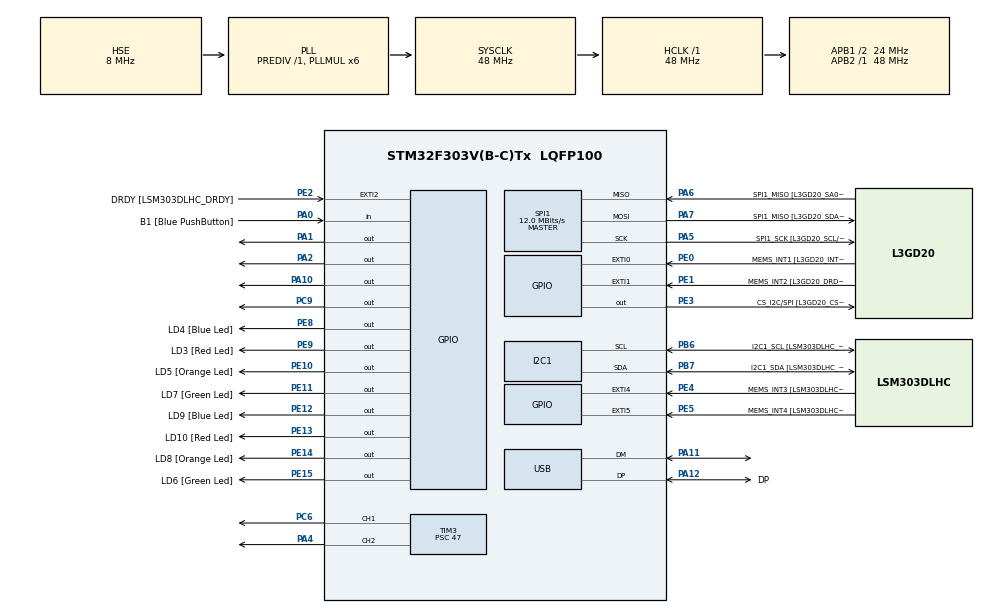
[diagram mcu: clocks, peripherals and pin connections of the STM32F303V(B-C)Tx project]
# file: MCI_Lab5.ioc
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I2C1.Timing=0x00201D2B
I2C1.Timing-I2C=0x2000090E
Mcu.Family=STM32F3
Mcu.Name=STM32F303V(B-C)Tx
Mcu.Package=LQFP100
NVIC.PriorityGroup=NVIC_PRIORITYGROUP_0
PA0.GPIO_Label=B1 [Blue PushButton]
PA0.Signal=GPIO_Input
PA1.Signal=GPIO_Output
PA10.Signal=GPIO_Output
PA11.Mode=Device
PA11.Signal=USB_DM
PA12.GPIO_Label=DP
PA12.Mode=Device
PA12.Signal=USB_DP
PA13.GPIO_Label=SWDIO
PA13.Mode=Serial_Wire
PA13.Signal=SYS_JTMS-SWDIO
PA14.GPIO_Label=SWCLK
PA14.Mode=Serial_Wire
PA14.Signal=SYS_JTCK-SWCLK
PA2.Signal=GPIO_Output
PA4.Signal=S_TIM3_CH2
PA5.GPIO_Label=SPI1_SCK [L3GD20_SCL/SPC]
PA5.Mode=Full_Duplex_Master
PA5.Signal=SPI1_SCK
PA6.GPIO_Label=SPI1_MISO [L3GD20_SA0/SDO]
PA6.Mode=Full_Duplex_Master
PA6.Signal=SPI1_MISO
PA7.GPIO_Label=SPI1_MISO [L3GD20_SDA/SDI/SDO]
PA7.Mode=Full_Duplex_Master
PA7.Signal=SPI1_MOSI
PB3.GPIO_Label=SWO
PB3.Signal=SYS_JTDO-TRACESWO
PB6.GPIO_Label=I2C1_SCL [LSM303DLHC_SCL]
PB6.GPIO_Pu=GPIO_PULLUP
PB6.Mode=I2C
PB6.Signal=I2C1_SCL
PB7.GPIO_Label=I2C1_SDA [LSM303DLHC_SDA]
PB7.GPIO_Pu=GPIO_PULLUP
PB7.Mode=I2C
PB7.Signal=I2C1_SDA
PC14-OSC32_IN.GPIO_Label=OSC32_IN
PC14-OSC32_IN.Signal=RCC_OSC32_IN
PC15-OSC32_OUT.GPIO_Label=OSC32_OUT
PC15-OSC32_OUT.Signal=RCC_OSC32_OUT
PC6.Signal=S_TIM3_CH1
PC9.Signal=GPIO_Output
PE0.GPIO_Label=MEMS_INT1 [L3GD20_INT1]
PE0.GPIO_ModeDefaultEXTI=GPIO_MODE_EVT_RISING
PE0.Signal=GPXTI0
PE1.GPIO_Label=MEMS_INT2 [L3GD20_DRDY/INT2]
PE1.GPIO_ModeDefaultEXTI=GPIO_MODE_EVT_RISING
PE1.Signal=GPXTI1
PE10.GPIO_Label=LD5 [Orange Led]
PE10.Signal=GPIO_Output
PE11.GPIO_Label=LD7 [Green Led]
PE11.Signal=GPIO_Output
PE12.GPIO_Label=LD9 [Blue Led]
PE12.Signal=GPIO_Output
PE13.GPIO_Label=LD10 [Red Led]
PE13.Signal=GPIO_Output
PE14.GPIO_Label=LD8 [Orange Led]
PE14.Signal=GPIO_Output
PE15.GPIO_Label=LD6 [Green Led]
PE15.Signal=GPIO_Output
PE2.GPIO_Label=DRDY [LSM303DLHC_DRDY]
PE2.GPIO_ModeDefaultEXTI=GPIO_MODE_EVT_RISING
PE2.Signal=GPXTI2
PE3.GPIO_Label=CS_I2C/SPI [L3GD20_CS_I2C/SPI]
PE3.Signal=GPIO_Output
PE4.GPIO_Label=MEMS_INT3 [LSM303DLHC_INT1]
PE4.GPIO_ModeDefaultEXTI=GPIO_MODE_EVT_RISING
PE4.Signal=GPXTI4
PE5.GPIO_Label=MEMS_INT4 [LSM303DLHC_INT2]
PE5.GPIO_ModeDefaultEXTI=GPIO_MODE_EVT_RISING
PE5.Signal=GPXTI5
PE8.GPIO_Label=LD4 [Blue Led]
PE8.Signal=GPIO_Output
PE9.GPIO_Label=LD3 [Red Led]
PE9.Signal=GPIO_Output
PF0-OSC_IN.GPIO_Label=OSC_IN
PF0-OSC_IN.Mode=HSE-External-Clock-Source
PF0-OSC_IN.Signal=RCC_OSC_IN
PF1-OSC_OUT.GPIO_Label=OSC_OUT
PF1-OSC_OUT.Signal=RCC_OSC_OUT
ProjectManager.HeapSize=0x200
ProjectManager.StackSize=0x400
ProjectManager.TargetToolchain=CMake
RCC.AHBFreq_Value=48000000
RCC.APB1CLKDivider=RCC_HCLK_DIV2
RCC.APB1Freq_Value=24000000
RCC.APB1TimFreq_Value=48000000
RCC.APB2Freq_Value=48000000
RCC.APB2TimFreq_Value=48000000
RCC.CortexFreq_Value=48000000
RCC.HCLKFreq_Value=48000000
RCC.HSE_VALUE=8000000
RCC.HSI_VALUE=8000000
RCC.LSE_VALUE=32768
RCC.PLLMUL=RCC_PLL_MUL6
RCC.SYSCLKFreq_VALUE=48000000
RCC.SYSCLKSourceVirtual=RCC_SYSCLKSOURCE_PLLCLK
RCC.USBFreq_Value=48000000
SH.S_TIM3_CH1.0=TIM3_CH1,PWM Generation1 CH1
SH.S_TIM3_CH2.0=TIM3_CH2,PWM Generation2 CH2
SPI1.BaudRatePrescaler=SPI_BAUDRATEPRESCALER_4
SPI1.BaudRatePrescaler-Full_Duplex_Master=SPI_BAUDRATEPRESCALER_2
SPI1.CalculateBaudRate=12.0 MBits/s
SPI1.CalculateBaudRate-Full_Duplex_Master=24.0 MBits/s
SPI1.Direction=SPI_DIRECTION_2LINES
SPI1.Mode=SPI_MODE_MASTER
SPI1.Mode-Full_Duplex_Master=SPI_MODE_MASTER
SPI1.VirtualType=VM_MASTER
TIM3.Channel-PWM\ Generation1\ CH1=TIM_CHANNEL_1
TIM3.Channel-PWM\ Generation2\ CH2=TIM_CHANNEL_2
TIM3.Period=999
TIM3.Prescaler=47
board=STM32F3DISCOVERY

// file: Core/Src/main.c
/* USER CODE BEGIN Header */
/**
  ******************************************************************************
  * @file           : main.c
  * @brief          : Main program body
  ******************************************************************************
  * @attention
  *
  * Copyright (c) 2026 STMicroelectronics.
  * All rights reserved.
  *
  * This software is licensed under terms that can be found in the LICENSE file
  * in the root directory of this software component.
  * If no LICENSE file comes with this software, it is provided AS-IS.
  *
  ******************************************************************************
  */
/* USER CODE END Header */
#include "main.h"

I2C_HandleTypeDef hi2c1;

SPI_HandleTypeDef hspi1;

TIM_HandleTypeDef htim3;

PCD_HandleTypeDef hpcd_USB_FS;

void SystemClock_Config(void);
static void MX_GPIO_Init(void);
static void MX_I2C1_Init(void);
static void MX_SPI1_Init(void);
static void MX_TIM3_Init(void);
static void MX_USB_PCD_Init(void);

/* USER CODE BEGIN 0 */
void rightMotorForward(int speed) {
  HAL_GPIO_WritePin(GPIOA, GPIO_PIN_1, GPIO_PIN_SET); // IN1
  HAL_GPIO_WritePin(GPIOA, GPIO_PIN_2, GPIO_PIN_RESET); // IN2

  __HAL_TIM_SET_COMPARE(&htim3, TIM_CHANNEL_1, speed);
}

void rightMotorBackward(int speed) {
  HAL_GPIO_WritePin(GPIOA, GPIO_PIN_1, GPIO_PIN_RESET); // IN1
  HAL_GPIO_WritePin(GPIOA, GPIO_PIN_2, GPIO_PIN_SET); // IN2

  __HAL_TIM_SET_COMPARE(&htim3, TIM_CHANNEL_1, speed);
}

void leftMotorForward(int speed) {
  HAL_GPIO_WritePin(GPIOA, GPIO_PIN_10, GPIO_PIN_SET); // IN3
  HAL_GPIO_WritePin(GPIOC, GPIO_PIN_9, GPIO_PIN_RESET); // IN4

  __HAL_TIM_SET_COMPARE(&htim3, TIM_CHANNEL_2, speed);
}

void leftMotorBackward(int speed) {
  HAL_GPIO_WritePin(GPIOA, GPIO_PIN_10, GPIO_PIN_RESET); // IN3
  HAL_GPIO_WritePin(GPIOC, GPIO_PIN_9, GPIO_PIN_SET); // IN4

  __HAL_TIM_SET_COMPARE(&htim3, TIM_CHANNEL_2, speed);
}

void leftMotorStop() {
  HAL_GPIO_WritePin(GPIOA, GPIO_PIN_10, GPIO_PIN_RESET); // IN3
  HAL_GPIO_WritePin(GPIOC, GPIO_PIN_9, GPIO_PIN_RESET); // IN4

  __HAL_TIM_SET_COMPARE(&htim3, TIM_CHANNEL_2, 0);
}

void rightMotorStop() {
  HAL_GPIO_WritePin(GPIOA, GPIO_PIN_1, GPIO_PIN_RESET); // IN1
  HAL_GPIO_WritePin(GPIOA, GPIO_PIN_2, GPIO_PIN_RESET); // IN2

  __HAL_TIM_SET_COMPARE(&htim3, TIM_CHANNEL_1, 0);
}

void bothMotorsStop() {
  leftMotorStop();
  rightMotorStop();
}

void bothMotorsForward(int speed) {
  leftMotorForward(speed);
  rightMotorForward(speed);
}

void bothMotorsBackward(int speed) {
  leftMotorBackward(speed);
  rightMotorBackward(speed);
}

/* USER CODE END 0 */

int main(void)
{

  /* MCU Configuration--------------------------------------------------------*/

  /* Reset of all peripherals, Initializes the Flash interface and the Systick. */
  HAL_Init();

  /* Configure the system clock */
  SystemClock_Config();

  /* Initialize all configured peripherals */
  MX_GPIO_Init();
  MX_I2C1_Init();
  MX_SPI1_Init();
  MX_TIM3_Init();
  MX_USB_PCD_Init();
  /* USER CODE BEGIN 2 */
  HAL_TIM_PWM_Start(&htim3, TIM_CHANNEL_1);
  HAL_TIM_PWM_Start(&htim3, TIM_CHANNEL_2);
  /* USER CODE END 2 */

  /* Infinite loop */
  while (1)
  {

    /* USER CODE BEGIN 3 */
  // for (int dutyCycle = 0; dutyCycle <= 1000; dutyCycle += 10) {
  //   __HAL_TIM_SET_COMPARE(&htim3, TIM_CHANNEL_1, dutyCycle);
  //   HAL_Delay(10); // Delay for 10 ms
  // }

  // for (int dutyCycle = 1000; dutyCycle >= 0; dutyCycle -= 10) {
  //   __HAL_TIM_SET_COMPARE(&htim3, TIM_CHANNEL_1, dutyCycle);
  //   HAL_Delay(10); // Delay for 10 ms
  // }

  // HAL_TIM_PWM_Stop(&htim3, TIM_CHANNEL_1); // Stop PWM signal generation
  // Test 1 (Both motors forward at half speed)
  bothMotorsForward(500);
  HAL_Delay(1000);
  bothMotorsBackward(500);
  HAL_Delay(1000);

   }
  /* USER CODE END 3 */
}

void SystemClock_Config(void)
{
  RCC_OscInitTypeDef RCC_OscInitStruct = {0};
  RCC_ClkInitTypeDef RCC_ClkInitStruct = {0};
  RCC_PeriphCLKInitTypeDef PeriphClkInit = {0};

  /** Initializes the RCC Oscillators according to the specified parameters
  * in the RCC_OscInitTypeDef structure.
  */
  RCC_OscInitStruct.OscillatorType = RCC_OSCILLATORTYPE_HSI|RCC_OSCILLATORTYPE_HSE;
  RCC_OscInitStruct.HSEState = RCC_HSE_BYPASS;
  RCC_OscInitStruct.HSEPredivValue = RCC_HSE_PREDIV_DIV1;
  RCC_OscInitStruct.HSIState = RCC_HSI_ON;
  RCC_OscInitStruct.HSICalibrationValue = RCC_HSICALIBRATION_DEFAULT;
  RCC_OscInitStruct.PLL.PLLState = RCC_PLL_ON;
  RCC_OscInitStruct.PLL.PLLSource = RCC_PLLSOURCE_HSE;
  RCC_OscInitStruct.PLL.PLLMUL = RCC_PLL_MUL6;
  if (HAL_RCC_OscConfig(&RCC_OscInitStruct) != HAL_OK)
  {
    Error_Handler();
  }

  /** Initializes the CPU, AHB and APB buses clocks
  */
  RCC_ClkInitStruct.ClockType = RCC_CLOCKTYPE_HCLK|RCC_CLOCKTYPE_SYSCLK
                              |RCC_CLOCKTYPE_PCLK1|RCC_CLOCKTYPE_PCLK2;
  RCC_ClkInitStruct.SYSCLKSource = RCC_SYSCLKSOURCE_PLLCLK;
  RCC_ClkInitStruct.AHBCLKDivider = RCC_SYSCLK_DIV1;
  RCC_ClkInitStruct.APB1CLKDivider = RCC_HCLK_DIV2;
  RCC_ClkInitStruct.APB2CLKDivider = RCC_HCLK_DIV1;

  if (HAL_RCC_ClockConfig(&RCC_ClkInitStruct, FLASH_LATENCY_1) != HAL_OK)
  {
    Error_Handler();
  }
  PeriphClkInit.PeriphClockSelection = RCC_PERIPHCLK_USB|RCC_PERIPHCLK_I2C1;
  PeriphClkInit.I2c1ClockSelection = RCC_I2C1CLKSOURCE_HSI;
  PeriphClkInit.USBClockSelection = RCC_USBCLKSOURCE_PLL;
  if (HAL_RCCEx_PeriphCLKConfig(&PeriphClkInit) != HAL_OK)
  {
    Error_Handler();
  }
}

static void MX_I2C1_Init(void)
{

  hi2c1.Instance = I2C1;
  hi2c1.Init.Timing = 0x00201D2B;
  hi2c1.Init.OwnAddress1 = 0;
  hi2c1.Init.AddressingMode = I2C_ADDRESSINGMODE_7BIT;
  hi2c1.Init.DualAddressMode = I2C_DUALADDRESS_DISABLE;
  hi2c1.Init.OwnAddress2 = 0;
  hi2c1.Init.OwnAddress2Masks = I2C_OA2_NOMASK;
  hi2c1.Init.GeneralCallMode = I2C_GENERALCALL_DISABLE;
  hi2c1.Init.NoStretchMode = I2C_NOSTRETCH_DISABLE;
  if (HAL_I2C_Init(&hi2c1) != HAL_OK)
  {
    Error_Handler();
  }

  /** Configure Analogue filter
  */
  if (HAL_I2CEx_ConfigAnalogFilter(&hi2c1, I2C_ANALOGFILTER_ENABLE) != HAL_OK)
  {
    Error_Handler();
  }

  /** Configure Digital filter
  */
  if (HAL_I2CEx_ConfigDigitalFilter(&hi2c1, 0) != HAL_OK)
  {
    Error_Handler();
  }

}

static void MX_SPI1_Init(void)
{

  /* SPI1 parameter configuration*/
  hspi1.Instance = SPI1;
  hspi1.Init.Mode = SPI_MODE_MASTER;
  hspi1.Init.Direction = SPI_DIRECTION_2LINES;
  hspi1.Init.DataSize = SPI_DATASIZE_4BIT;
  hspi1.Init.CLKPolarity = SPI_POLARITY_LOW;
  hspi1.Init.CLKPhase = SPI_PHASE_1EDGE;
  hspi1.Init.NSS = SPI_NSS_SOFT;
  hspi1.Init.BaudRatePrescaler = SPI_BAUDRATEPRESCALER_4;
  hspi1.Init.FirstBit = SPI_FIRSTBIT_MSB;
  hspi1.Init.TIMode = SPI_TIMODE_DISABLE;
  hspi1.Init.CRCCalculation = SPI_CRCCALCULATION_DISABLE;
  hspi1.Init.CRCPolynomial = 7;
  hspi1.Init.CRCLength = SPI_CRC_LENGTH_DATASIZE;
  hspi1.Init.NSSPMode = SPI_NSS_PULSE_ENABLE;
  if (HAL_SPI_Init(&hspi1) != HAL_OK)
  {
    Error_Handler();
  }

}

static void MX_TIM3_Init(void)
{

  TIM_MasterConfigTypeDef sMasterConfig = {0};
  TIM_OC_InitTypeDef sConfigOC = {0};

  htim3.Instance = TIM3;
  htim3.Init.Prescaler = 47;
  htim3.Init.CounterMode = TIM_COUNTERMODE_UP;
  htim3.Init.Period = 999;
  htim3.Init.ClockDivision = TIM_CLOCKDIVISION_DIV1;
  htim3.Init.AutoReloadPreload = TIM_AUTORELOAD_PRELOAD_DISABLE;
  if (HAL_TIM_PWM_Init(&htim3) != HAL_OK)
  {
    Error_Handler();
  }
  sMasterConfig.MasterOutputTrigger = TIM_TRGO_RESET;
  sMasterConfig.MasterSlaveMode = TIM_MASTERSLAVEMODE_DISABLE;
  if (HAL_TIMEx_MasterConfigSynchronization(&htim3, &sMasterConfig) != HAL_OK)
  {
    Error_Handler();
  }
  sConfigOC.OCMode = TIM_OCMODE_PWM1;
  sConfigOC.Pulse = 0;
  sConfigOC.OCPolarity = TIM_OCPOLARITY_HIGH;
  sConfigOC.OCFastMode = TIM_OCFAST_DISABLE;
  if (HAL_TIM_PWM_ConfigChannel(&htim3, &sConfigOC, TIM_CHANNEL_1) != HAL_OK)
  {
    Error_Handler();
  }
  if (HAL_TIM_PWM_ConfigChannel(&htim3, &sConfigOC, TIM_CHANNEL_2) != HAL_OK)
  {
    Error_Handler();
  }
  HAL_TIM_MspPostInit(&htim3);

}

static void MX_USB_PCD_Init(void)
{

  hpcd_USB_FS.Instance = USB;
  hpcd_USB_FS.Init.dev_endpoints = 8;
  hpcd_USB_FS.Init.speed = PCD_SPEED_FULL;
  hpcd_USB_FS.Init.phy_itface = PCD_PHY_EMBEDDED;
  hpcd_USB_FS.Init.low_power_enable = DISABLE;
  hpcd_USB_FS.Init.battery_charging_enable = DISABLE;
  if (HAL_PCD_Init(&hpcd_USB_FS) != HAL_OK)
  {
    Error_Handler();
  }

}

static void MX_GPIO_Init(void)
{
  GPIO_InitTypeDef GPIO_InitStruct = {0};

  /* GPIO Ports Clock Enable */
  __HAL_RCC_GPIOE_CLK_ENABLE();
  __HAL_RCC_GPIOC_CLK_ENABLE();
  __HAL_RCC_GPIOF_CLK_ENABLE();
  __HAL_RCC_GPIOA_CLK_ENABLE();
  __HAL_RCC_GPIOB_CLK_ENABLE();

  /*Configure GPIO pin Output Level */
  HAL_GPIO_WritePin(GPIOE, CS_I2C_SPI_Pin|LD4_Pin|LD3_Pin|LD5_Pin
                          |LD7_Pin|LD9_Pin|LD10_Pin|LD8_Pin
                          |LD6_Pin, GPIO_PIN_RESET);

  /*Configure GPIO pin Output Level */
  HAL_GPIO_WritePin(GPIOA, GPIO_PIN_1|GPIO_PIN_2|GPIO_PIN_10, GPIO_PIN_RESET);

  /*Configure GPIO pin Output Level */
  HAL_GPIO_WritePin(GPIOC, GPIO_PIN_9, GPIO_PIN_RESET);

  /*Configure GPIO pins : DRDY_Pin MEMS_INT3_Pin MEMS_INT4_Pin MEMS_INT1_Pin
                           MEMS_INT2_Pin */
  GPIO_InitStruct.Pin = DRDY_Pin|MEMS_INT3_Pin|MEMS_INT4_Pin|MEMS_INT1_Pin
                          |MEMS_INT2_Pin;
  GPIO_InitStruct.Mode = GPIO_MODE_EVT_RISING;
  GPIO_InitStruct.Pull = GPIO_NOPULL;
  HAL_GPIO_Init(GPIOE, &GPIO_InitStruct);

  /*Configure GPIO pins : CS_I2C_SPI_Pin LD4_Pin LD3_Pin LD5_Pin
                           LD7_Pin LD9_Pin LD10_Pin LD8_Pin
                           LD6_Pin */
  GPIO_InitStruct.Pin = CS_I2C_SPI_Pin|LD4_Pin|LD3_Pin|LD5_Pin
                          |LD7_Pin|LD9_Pin|LD10_Pin|LD8_Pin
                          |LD6_Pin;
  GPIO_InitStruct.Mode = GPIO_MODE_OUTPUT_PP;
  GPIO_InitStruct.Pull = GPIO_NOPULL;
  GPIO_InitStruct.Speed = GPIO_SPEED_FREQ_LOW;
  HAL_GPIO_Init(GPIOE, &GPIO_InitStruct);

  /*Configure GPIO pin : B1_Pin */
  GPIO_InitStruct.Pin = B1_Pin;
  GPIO_InitStruct.Mode = GPIO_MODE_INPUT;
  GPIO_InitStruct.Pull = GPIO_NOPULL;
  HAL_GPIO_Init(B1_GPIO_Port, &GPIO_InitStruct);

  /*Configure GPIO pins : PA1 PA2 PA10 */
  GPIO_InitStruct.Pin = GPIO_PIN_1|GPIO_PIN_2|GPIO_PIN_10;
  GPIO_InitStruct.Mode = GPIO_MODE_OUTPUT_PP;
  GPIO_InitStruct.Pull = GPIO_NOPULL;
  GPIO_InitStruct.Speed = GPIO_SPEED_FREQ_LOW;
  HAL_GPIO_Init(GPIOA, &GPIO_InitStruct);

  /*Configure GPIO pin : PC9 */
  GPIO_InitStruct.Pin = GPIO_PIN_9;
  GPIO_InitStruct.Mode = GPIO_MODE_OUTPUT_PP;
  GPIO_InitStruct.Pull = GPIO_NOPULL;
  GPIO_InitStruct.Speed = GPIO_SPEED_FREQ_LOW;
  HAL_GPIO_Init(GPIOC, &GPIO_InitStruct);

}

void Error_Handler(void)
{
  __disable_irq();
  while (1)
  {
  }
}
